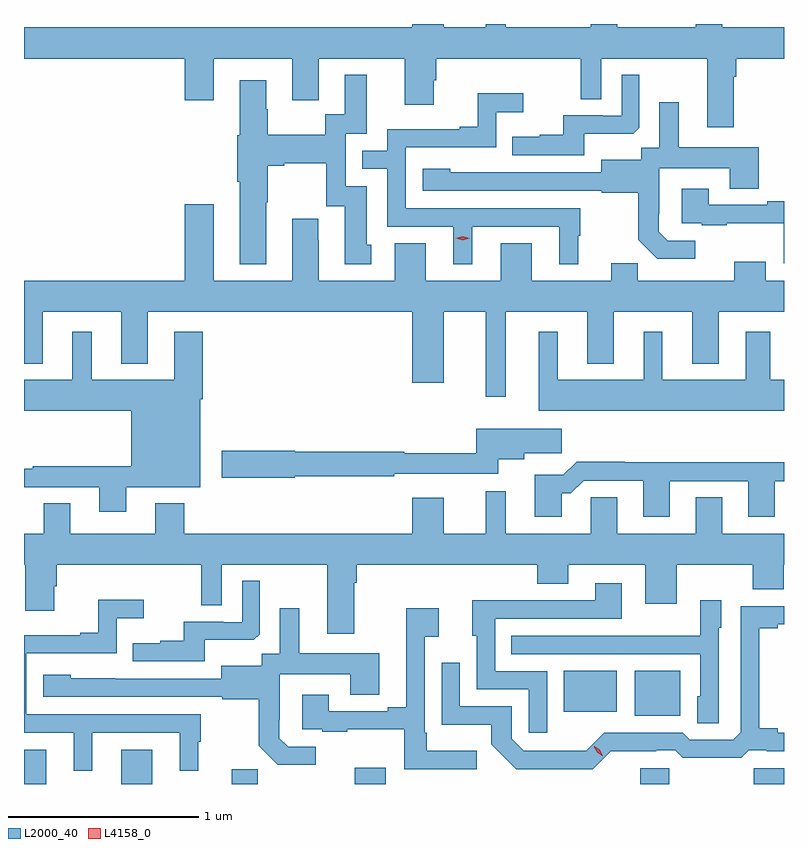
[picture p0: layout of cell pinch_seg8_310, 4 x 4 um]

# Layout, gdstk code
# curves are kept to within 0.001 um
import gdstk
lib = gdstk.Library(unit=1e-6, precision=1e-09)
def R(c, l, rs):  # rectangles x0, y0, x1, y1
    for r in rs: c.add(gdstk.rectangle(r[:2], r[2:], *l))
def P(c, l, *ps):  # polygons
    for p in ps: c.add(gdstk.Polygon(p, *l))
L2000_40 = (2000, 40)
L4158_0 = (4158, 0)

pinch_seg8_310 = lib.new_cell('pinch_seg8_310')
R(pinch_seg8_310, L2000_40, [(606.52,1132.662,606.637,1132.843), (607.031,1132.662,607.195,1132.843), (607.613,1132.662,607.751,1132.739), (608.261,1132.662,608.425,1132.747), (609.764,1132.662,609.915,1132.746), (610.36,1132.662,610.52,1132.746), (609.734,1133.021,609.973,1133.257), (609.362,1133.042,609.64,1133.257)])
P(pinch_seg8_310, L2000_40, [(606.52,1136.48),(607.367,1136.48),(607.367,1136.262),(607.519,1136.262),(607.519,1136.48),(607.931,1136.48),(607.931,1136.262),(608.071,1136.262),(608.071,1136.48),(608.525,1136.48),(608.525,1136.238),(608.677,1136.238),(608.677,1136.367),(608.69,1136.367),(608.69,1136.48),(609.45,1136.48),(609.45,1136.266),(609.558,1136.266),(609.558,1136.48),(610.115,1136.48),(610.115,1136.118),(610.255,1136.118),(610.255,1136.384),(610.268,1136.384),(610.268,1136.48),(610.52,1136.48),(610.52,1136.644),(610.195,1136.644),(610.195,1136.662),(610.055,1136.662),(610.055,1136.644),(609.643,1136.644),(609.643,1136.662),(609.504,1136.662),(609.504,1136.644),(609.055,1136.644),(609.055,1136.662),(608.951,1136.662),(608.951,1136.644),(608.728,1136.644),(608.728,1136.662),(608.564,1136.662),(608.564,1136.644),(606.52,1136.644)],
  [(609.469,1136.084),(609.727,1136.084),(609.759,1136.115),(609.759,1136.395),(609.666,1136.395),(609.666,1136.178),(609.566,1136.178),(609.566,1136.181),(609.359,1136.181),(609.359,1136.08),(609.235,1136.08),(609.235,1136.068),(609.091,1136.068),(609.091,1135.971),(609.469,1135.971)],
  [(607.795,1135.723),(607.803,1135.723),(607.803,1135.916),(607.891,1135.916),(607.891,1135.928),(608.111,1135.928),(608.111,1135.704),(608.207,1135.704),(608.207,1135.398),(608.347,1135.398),(608.347,1135.5),(608.323,1135.5),(608.323,1135.809),(608.214,1135.809),(608.214,1136.085),(608.323,1136.085),(608.323,1136.395),(608.207,1136.395),(608.207,1136.186),(608.106,1136.186),(608.106,1136.08),(607.803,1136.08),(607.803,1136.214),(607.795,1136.214),(607.795,1136.365),(607.655,1136.365),(607.655,1136.076),(607.643,1136.076),(607.643,1135.832),(607.655,1135.832),(607.655,1135.397),(607.795,1135.397)],
  [(608.878,1135.596),(609.338,1135.596),(609.338,1135.397),(609.436,1135.397),(609.436,1135.548),(609.448,1135.548),(609.448,1135.692),(608.529,1135.692),(608.529,1136.013),(609.006,1136.013),(609.006,1136.198),(609.148,1136.198),(609.148,1136.297),(608.908,1136.297),(608.908,1136.122),(608.813,1136.122),(608.813,1136.109),(608.433,1136.109),(608.433,1135.995),(608.299,1135.995),(608.299,1135.899),(608.433,1135.899),(608.433,1135.596),(608.78,1135.596),(608.78,1135.397),(608.878,1135.397)],
  [(610.054,1135.521),(609.909,1135.521),(609.862,1135.568),(609.862,1135.663),(609.864,1135.663),(609.864,1135.904),(610.235,1135.904),(610.235,1135.795),(610.387,1135.795),(610.387,1136.014),(609.967,1136.014),(609.967,1136.251),(609.863,1136.251),(609.863,1136.012),(609.768,1136.012),(609.768,1135.948),(609.557,1135.948),(609.557,1135.881),(608.763,1135.882),(608.763,1135.9),(608.619,1135.9),(608.619,1135.785),(609.561,1135.785),(609.561,1135.773),(609.753,1135.773),(609.753,1135.527),(609.853,1135.427),(610.054,1135.427)],
  [(610.52,1135.729),(610.433,1135.729),(610.433,1135.71),(610.123,1135.71),(610.123,1135.795),(609.983,1135.795),(609.983,1135.614),(610.087,1135.614),(610.087,1135.602),(610.219,1135.602),(610.219,1135.613),(610.518,1135.613),(610.518,1135.404),(610.52,1135.404)],
  [(609.055,1135.148),(609.485,1135.148),(609.485,1134.875),(609.625,1134.875),(609.625,1135.148),(610.037,1135.148),(610.037,1134.875),(610.177,1134.875),(610.177,1135.148),(610.52,1135.148),(610.52,1135.312),(610.423,1135.312),(610.423,1135.411),(610.259,1135.411),(610.259,1135.312),(609.749,1135.312),(609.749,1135.403),(609.611,1135.403),(609.611,1135.312),(609.193,1135.312),(609.193,1135.507),(609.029,1135.507),(609.029,1135.312),(608.635,1135.312),(608.635,1135.507),(608.471,1135.507),(608.471,1135.312),(608.071,1135.312),(608.071,1135.523),(608.068,1135.523),(608.068,1135.636),(607.931,1135.636),(607.931,1135.312),(607.519,1135.312),(607.519,1135.714),(607.367,1135.714),(607.367,1135.312),(606.52,1135.312),(606.52,1134.875),(606.619,1134.875),(606.619,1135.148),(607.031,1135.148),(607.031,1134.875),(607.171,1134.875),(607.171,1135.148),(608.564,1135.148),(608.564,1134.774),(608.728,1134.774),(608.728,1135.148),(608.951,1135.148),(608.951,1134.699),(609.055,1134.699)],
  [(610.52,1134.79),(610.447,1134.79),(610.447,1135.042),(610.319,1135.042),(610.319,1134.79),(609.88,1134.79),(609.88,1135.042),(609.782,1135.042),(609.782,1134.79),(609.328,1134.79),(609.328,1135.042),(609.23,1135.042),(609.23,1134.626),(610.52,1134.626)],
  [(607.057,1134.224),(607.447,1134.224),(607.447,1134.686),(607.46,1134.686),(607.46,1135.042),(607.31,1135.042),(607.31,1134.79),(606.877,1134.79),(606.877,1135.042),(606.773,1135.042),(606.773,1134.79),(606.52,1134.79),(606.52,1134.626),(607.085,1134.626),(607.085,1134.334),(606.565,1134.334),(606.565,1134.321),(606.52,1134.321),(606.52,1134.225),(606.917,1134.225),(606.917,1134.096),(607.057,1134.096)],
  [(607.944,1134.282),(608.468,1134.282),(608.468,1134.294),(609.017,1134.294),(609.017,1134.371),(609.154,1134.371),(609.154,1134.403),(609.349,1134.403),(609.349,1134.532),(608.899,1134.532),(608.899,1134.403),(608.522,1134.403),(608.522,1134.41),(607.944,1134.41),(607.944,1134.416),(607.56,1134.416),(607.56,1134.274),(607.944,1134.274)],
  [(609.349,1134.191),(609.398,1134.191),(609.465,1134.258),(609.779,1134.258),(609.779,1134.069),(609.919,1134.069),(609.919,1134.255),(610.331,1134.255),(610.331,1134.069),(610.471,1134.069),(610.471,1134.255),(610.52,1134.255),(610.52,1134.356),(609.683,1134.356),(609.683,1134.359),(609.428,1134.359),(609.358,1134.289),(609.209,1134.289),(609.209,1134.069),(609.349,1134.069)],
  [(608.257,1133.72),(608.27,1133.72),(608.27,1133.816),(609.221,1133.816),(609.221,1133.717),(609.385,1133.717),(609.385,1133.816),(609.791,1133.816),(609.791,1133.61),(609.955,1133.61),(609.955,1133.816),(610.355,1133.816),(610.355,1133.688),(610.519,1133.688),(610.519,1133.816),(610.52,1133.816),(610.52,1133.98),(610.195,1133.98),(610.195,1134.17),(610.055,1134.17),(610.055,1133.98),(609.643,1133.98),(609.643,1134.17),(609.504,1134.17),(609.504,1133.98),(609.055,1133.98),(609.055,1134.202),(608.951,1134.202),(608.951,1133.98),(608.728,1133.98),(608.728,1134.169),(608.564,1134.169),(608.564,1133.98),(607.364,1133.98),(607.364,1134.139),(607.211,1134.139),(607.211,1133.98),(606.763,1133.98),(606.763,1134.14),(606.623,1134.14),(606.623,1133.98),(606.52,1133.98),(606.52,1133.816),(606.527,1133.816),(606.527,1133.574),(606.679,1133.574),(606.679,1133.703),(606.692,1133.703),(606.692,1133.816),(607.452,1133.816),(607.452,1133.602),(607.56,1133.602),(607.56,1133.816),(608.117,1133.816),(608.117,1133.454),(608.257,1133.454)],
  [(607.471,1133.42),(607.729,1133.42),(607.761,1133.451),(607.761,1133.731),(607.668,1133.731),(607.668,1133.514),(607.568,1133.514),(607.568,1133.517),(607.361,1133.517),(607.361,1133.416),(607.237,1133.416),(607.237,1133.404),(607.093,1133.404),(607.093,1133.307),(607.471,1133.307)],
  [(609.273,1133.256),(609,1133.256),(609,1133.532),(609.667,1133.532),(609.667,1133.719),(609.527,1133.719),(609.527,1133.628),(609.097,1133.628),(609.097,1133.63),(608.879,1133.63),(608.879,1133.442),(608.904,1133.442),(608.904,1133.16),(609.177,1133.16),(609.177,1132.932),(609.273,1132.932)],
  [(606.88,1132.932),(607.34,1132.932),(607.34,1132.733),(607.438,1132.733),(607.438,1132.884),(607.45,1132.884),(607.45,1133.028),(606.531,1133.028),(606.531,1133.349),(607.008,1133.349),(607.008,1133.534),(607.15,1133.534),(607.15,1133.633),(606.91,1133.633),(606.91,1133.458),(606.815,1133.458),(606.815,1133.445),(606.52,1133.445),(606.52,1132.932),(606.782,1132.932),(606.782,1132.733),(606.88,1132.733)],
  [(610.176,1133.484),(610.189,1133.484),(610.189,1133.629),(610.08,1133.629),(610.08,1133.443),(609.763,1133.443),(609.763,1133.442),(609.085,1133.442),(609.085,1133.346),(610.08,1133.346),(610.08,1133.124),(610.064,1133.124),(610.064,1132.981),(610.176,1132.981)],
  [(609.608,1132.835),(609.848,1132.835),(609.848,1132.839),(609.948,1132.839),(609.988,1132.8),(610.295,1132.8),(610.335,1132.839),(610.429,1132.839),(610.429,1132.835),(610.52,1132.835),(610.52,1132.932),(610.486,1132.932),(610.486,1132.955),(610.391,1132.955),(610.391,1133.482),(610.486,1133.482),(610.486,1133.502),(610.52,1133.502),(610.52,1133.598),(610.293,1133.598),(610.293,1132.935),(610.254,1132.896),(610.023,1132.896),(609.987,1132.932),(609.573,1132.932),(609.479,1132.838),(609.374,1132.838),(609.374,1132.836),(609.15,1132.836),(609.087,1132.899),(609.087,1133.07),(608.814,1133.07),(608.814,1133.299),(608.718,1133.299),(608.718,1132.973),(608.98,1132.973),(608.98,1132.871),(609.11,1132.74),(609.513,1132.74)],
  [(608.056,1132.857),(607.911,1132.857),(607.864,1132.904),(607.864,1132.999),(607.866,1132.999),(607.866,1133.24),(608.237,1133.24),(608.237,1133.131),(608.389,1133.131),(608.389,1133.35),(607.969,1133.35),(607.969,1133.587),(607.865,1133.587),(607.865,1133.348),(607.77,1133.348),(607.77,1133.284),(607.559,1133.284),(607.559,1133.217),(606.765,1133.218),(606.765,1133.236),(606.621,1133.236),(606.621,1133.121),(607.563,1133.121),(607.563,1133.109),(607.755,1133.109),(607.755,1132.863),(607.855,1132.763),(608.056,1132.763)],
  [(608.902,1132.837),(608.641,1132.837),(608.641,1132.933),(608.628,1132.933),(608.628,1133.438),(608.704,1133.438),(608.704,1133.587),(608.531,1133.587),(608.531,1133.065),(608.435,1133.065),(608.435,1133.046),(608.125,1133.046),(608.125,1133.131),(607.985,1133.131),(607.985,1132.95),(608.089,1132.95),(608.089,1132.938),(608.221,1132.938),(608.221,1132.949),(608.52,1132.949),(608.52,1132.74),(608.902,1132.74)])
P(pinch_seg8_310, L4158_0, [(608.829,1135.525),(608.793,1135.534),(608.793,1135.535),(608.793,1135.535),(608.829,1135.545),(608.865,1135.535),(608.865,1135.535),(608.865,1135.534)],
  [(609.567,1132.808),(609.536,1132.828),(609.519,1132.862),(609.519,1132.862),(609.52,1132.862),(609.551,1132.841),(609.567,1132.808),(609.567,1132.808)])

lib.write_gds('pinch_seg8_310.gds')
